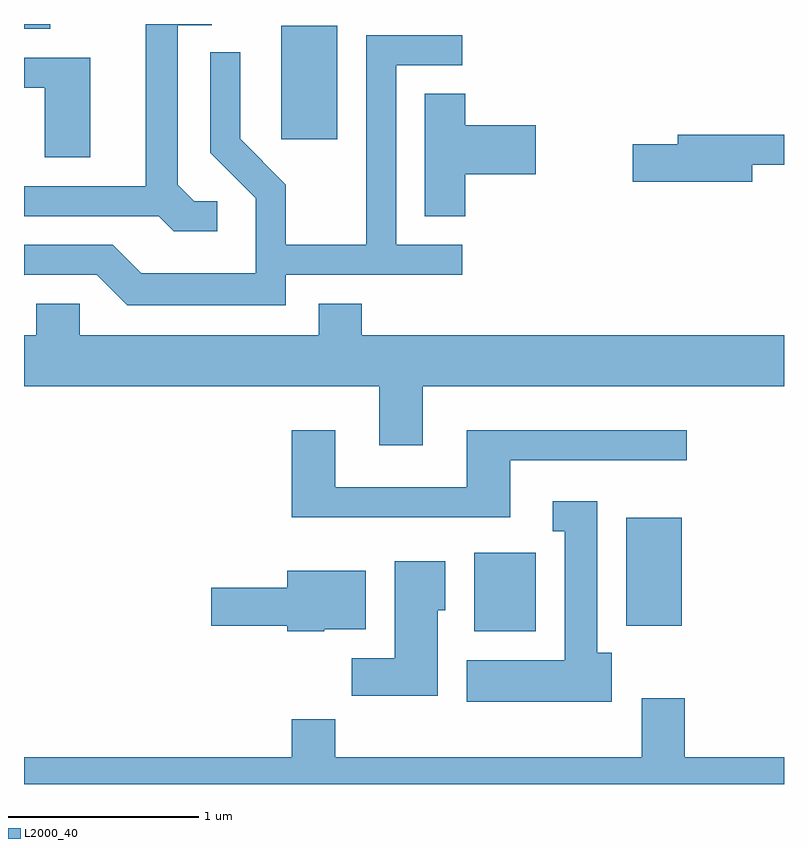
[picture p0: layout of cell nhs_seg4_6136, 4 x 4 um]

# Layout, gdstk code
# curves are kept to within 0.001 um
import gdstk
lib = gdstk.Library(unit=1e-6, precision=1e-09)
def R(c, l, rs):  # rectangles x0, y0, x1, y1
    for r in rs: c.add(gdstk.rectangle(r[:2], r[2:], *l))
def P(c, l, *ps):  # polygons
    for p in ps: c.add(gdstk.Polygon(p, *l))
L2000_40 = (2000, 40)

nhs_seg4_6136 = lib.new_cell('nhs_seg4_6136')
R(nhs_seg4_6136, L2000_40, [(367.981,1286.786,368.304,1287.199), (368.781,1286.816,369.074,1287.384), (366.966,1289.376,367.259,1289.974), (365.611,1289.956,365.749,1289.982)])
P(nhs_seg4_6136, L2000_40, [(366.628,1289.049),(366.507,1289.049),(366.419,1289.137),(366.419,1289.976),(366.598,1289.976),(366.598,1289.982),(366.251,1289.982),(366.251,1289.129),(365.611,1289.129),(365.611,1288.971),(366.319,1288.971),(366.399,1288.891),(366.628,1288.891)],
  [(366.989,1288.661),(367.918,1288.661),(367.918,1288.819),(367.569,1288.819),(367.569,1289.766),(367.918,1289.766),(367.918,1289.924),(367.411,1289.924),(367.411,1288.819),(366.989,1288.819),(366.989,1289.137),(366.749,1289.377),(366.749,1289.833),(366.591,1289.833),(366.591,1289.304),(366.831,1289.064),(366.831,1288.669),(366.227,1288.669),(366.077,1288.819),(365.611,1288.819),(365.611,1288.66),(365.994,1288.661),(366.154,1288.501),(366.989,1288.501)],
  [(365.959,1289.804),(365.611,1289.804),(365.611,1289.646),(365.721,1289.646),(365.721,1289.281),(365.959,1289.281)],
  [(367.934,1289.191),(368.304,1289.191),(368.304,1289.449),(367.934,1289.449),(367.934,1289.614),(367.721,1289.614),(367.721,1288.971),(367.934,1288.971)],
  [(369.444,1289.241),(369.611,1289.241),(369.611,1289.399),(369.051,1289.399),(369.051,1289.349),(368.816,1289.349),(368.816,1289.151),(369.444,1289.151)],
  [(367.709,1288.076),(369.611,1288.076),(369.611,1288.344),(367.389,1288.344),(367.389,1288.509),(367.161,1288.509),(367.161,1288.344),(365.904,1288.344),(365.904,1288.509),(365.676,1288.509),(365.676,1288.344),(365.611,1288.344),(365.611,1288.076),(367.481,1288.076),(367.481,1287.766),(367.709,1287.766)],
  [(368.169,1287.686),(369.098,1287.686),(369.098,1287.844),(367.941,1287.844),(367.941,1287.544),(367.249,1287.544),(367.249,1287.844),(367.021,1287.844),(367.021,1287.386),(368.169,1287.386)],
  [(368.704,1286.674),(368.629,1286.674),(368.629,1287.469),(368.393,1287.469),(368.393,1287.311),(368.456,1287.311),(368.456,1286.634),(367.941,1286.634),(367.941,1286.416),(368.704,1286.416)],
  [(367.789,1286.896),(367.829,1286.896),(367.829,1287.154),(367.561,1287.154),(367.561,1286.644),(367.336,1286.644),(367.336,1286.446),(367.789,1286.446)],
  [(367.19,1286.796),(367.409,1286.796),(367.409,1287.104),(366.996,1287.104),(366.996,1287.014),(366.596,1287.014),(366.596,1286.816),(366.996,1286.816),(366.996,1286.786),(367.19,1286.786)],
  [(369.611,1286.124),(369.089,1286.124),(369.089,1286.434),(368.861,1286.434),(368.861,1286.124),(367.249,1286.124),(367.249,1286.324),(367.021,1286.324),(367.021,1286.124),(365.611,1286.124),(365.611,1285.982),(369.611,1285.982)])

lib.write_gds('nhs_seg4_6136.gds')
